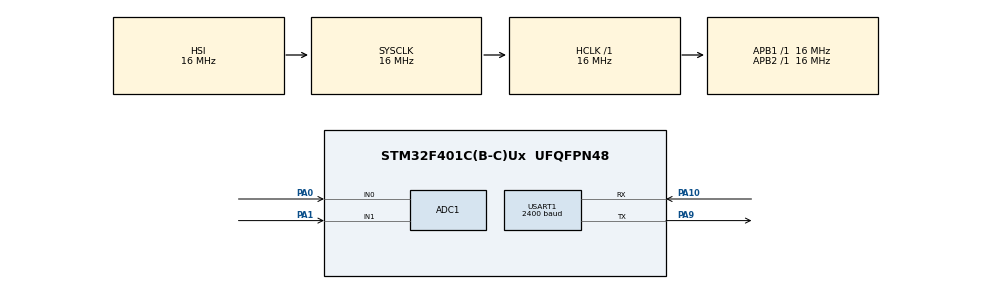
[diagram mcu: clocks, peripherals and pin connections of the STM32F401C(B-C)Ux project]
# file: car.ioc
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ADC1.Channel-1\#ChannelRegularConversion=ADC_CHANNEL_0
ADC1.NbrOfConversionFlag=1
ADC1.Rank-1\#ChannelRegularConversion=1
ADC1.SamplingTime-1\#ChannelRegularConversion=ADC_SAMPLETIME_3CYCLES
ADC1.master=1
Dma.ADC1.0.Direction=DMA_PERIPH_TO_MEMORY
Dma.ADC1.0.FIFOMode=DMA_FIFOMODE_DISABLE
Dma.ADC1.0.Instance=DMA2_Stream0
Dma.ADC1.0.MemDataAlignment=DMA_MDATAALIGN_HALFWORD
Dma.ADC1.0.MemInc=DMA_MINC_ENABLE
Dma.ADC1.0.Mode=DMA_CIRCULAR
Dma.ADC1.0.PeriphDataAlignment=DMA_PDATAALIGN_HALFWORD
Dma.ADC1.0.PeriphInc=DMA_PINC_DISABLE
Dma.ADC1.0.Priority=DMA_PRIORITY_LOW
Dma.Request0=ADC1
Mcu.Family=STM32F4
Mcu.Name=STM32F401C(B-C)Ux
Mcu.Package=UFQFPN48
NVIC.DMA2_Stream0_IRQn=true\:0\:0\:false\:false\:true\:false\:true\:true
NVIC.PriorityGroup=NVIC_PRIORITYGROUP_4
PA0-WKUP.Signal=ADCx_IN0
PA1.Signal=ADCx_IN1
PA10.Mode=Asynchronous
PA10.Signal=USART1_RX
PA9.Mode=Asynchronous
PA9.Signal=USART1_TX
ProjectManager.HeapSize=0x200
ProjectManager.StackSize=0x400
ProjectManager.TargetToolchain=STM32CubeIDE
RCC.AHBFreq_Value=16000000
RCC.APB1Freq_Value=16000000
RCC.APB2Freq_Value=16000000
RCC.CortexFreq_Value=16000000
RCC.HSE_VALUE=25000000
RCC.HSI_VALUE=16000000
RCC.LSE_VALUE=32768
RCC.SYSCLKFreq_VALUE=16000000
RCC.VCOOutputFreq_Value=192000000
SH.ADCx_IN0.0=ADC1_IN0,IN0
SH.ADCx_IN1.0=ADC1_IN1,IN1
USART1.BaudRate=2400
USART1.VirtualMode=VM_ASYNC
board=custom

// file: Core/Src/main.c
/* USER CODE BEGIN Header */
/**
  ******************************************************************************
  * @file           : main.c
  * @brief          : Main program body
  ******************************************************************************
  * @attention
  *
  * Copyright (c) 2026 STMicroelectronics.
  * All rights reserved.
  *
  * This software is licensed under terms that can be found in the LICENSE file
  * in the root directory of this software component.
  * If no LICENSE file comes with this software, it is provided AS-IS.
  *
  ******************************************************************************
  */
/* USER CODE END Header */
#include "main.h"

ADC_HandleTypeDef hadc1;
DMA_HandleTypeDef hdma_adc1;

UART_HandleTypeDef huart1;

/* USER CODE BEGIN PV */
volatile uint32_t adc_val[2]; // adc_val[0] - ось X, adc_val[1] - ось Y
uint8_t tx_packet[8];        // Буфер для отправки пакета по радио
/* USER CODE END PV */

void SystemClock_Config(void);
static void MX_GPIO_Init(void);
static void MX_DMA_Init(void);
static void MX_ADC1_Init(void);
static void MX_USART1_UART_Init(void);

int main(void)
{

  /* MCU Configuration--------------------------------------------------------*/

  /* Reset of all peripherals, Initializes the Flash interface and the Systick. */
  HAL_Init();

  /* Configure the system clock */
  SystemClock_Config();

  /* Initialize all configured peripherals */
  MX_GPIO_Init();
  MX_DMA_Init();
  MX_ADC1_Init();
  MX_USART1_UART_Init();
  /* USER CODE BEGIN 2 */
  HAL_ADC_Start_DMA(&hadc1, (uint32_t*)adc_val, 2);
  /* USER CODE END 2 */

  /* Infinite loop */
  /* USER CODE BEGIN WHILE */
  while (1)
  {
	  // Центр джойстика по умолчанию выдает ~2048 (диапазон 0..4095)
	        // Переводим сырые значения АЦП в диапазон от -100 до +100
	        int32_t speed = ((int32_t)adc_val[1] - 2048) * 100 / 2048; // Вперед/назад (ось Y)
	        int32_t steer = ((int32_t)adc_val[0] - 2048) * 100 / 2048; // Влево/вправо (ось X)
	        // Математика дифференциального (танкового) руления
	        int32_t left = speed + steer;
	        int32_t right = speed - steer;
	        // Ограничиваем значения в пределах -100..+100
	        if (left > 100) left = 100;
	        if (left < -100) left = -100;
	        if (right > 100) right = 100;
	        if (right < -100) right = -100;
	        // Переводим в беззнаковый вид 0..200 для отправки (100 - это стоп)
	        uint8_t left_cmd = (uint8_t)(left + 100);
	        uint8_t right_cmd = (uint8_t)(right + 100);
	        // Собираем пакет для отправки по воздуху
	        tx_packet[0] = 0x55; // Преамбула (1-й байт "разогрева" приемника)
	        tx_packet[1] = 0x55; // Преамбула (2-й байт)
	        tx_packet[2] = 0x55; // Преамбула (3-й байт)
	        tx_packet[3] = 0x55; // Преамбула (4-й байт)
	        tx_packet[4] = 0xAA; // Стартовый байт начала данных
	        tx_packet[5] = left_cmd;  // Скорость левого колеса
	        tx_packet[6] = right_cmd; // Скорость правого колеса
	        tx_packet[7] = left_cmd ^ right_cmd ^ 0xAA; // Контрольная сумма (XOR)
	        // Отправляем пакет 8 байт через передатчик FS1000A
	        HAL_UART_Transmit(&huart1, tx_packet, 8, 100);
	        HAL_Delay(50); // Отправляем команды каждые 50 миллисекунд

    /* USER CODE END WHILE */

  }
}

void SystemClock_Config(void)
{
  RCC_OscInitTypeDef RCC_OscInitStruct = {0};
  RCC_ClkInitTypeDef RCC_ClkInitStruct = {0};

  /** Configure the main internal regulator output voltage
  */
  __HAL_RCC_PWR_CLK_ENABLE();
  __HAL_PWR_VOLTAGESCALING_CONFIG(PWR_REGULATOR_VOLTAGE_SCALE2);

  /** Initializes the RCC Oscillators according to the specified parameters
  * in the RCC_OscInitTypeDef structure.
  */
  RCC_OscInitStruct.OscillatorType = RCC_OSCILLATORTYPE_HSI;
  RCC_OscInitStruct.HSIState = RCC_HSI_ON;
  RCC_OscInitStruct.HSICalibrationValue = RCC_HSICALIBRATION_DEFAULT;
  RCC_OscInitStruct.PLL.PLLState = RCC_PLL_NONE;
  if (HAL_RCC_OscConfig(&RCC_OscInitStruct) != HAL_OK)
  {
    Error_Handler();
  }

  /** Initializes the CPU, AHB and APB buses clocks
  */
  RCC_ClkInitStruct.ClockType = RCC_CLOCKTYPE_HCLK|RCC_CLOCKTYPE_SYSCLK
                              |RCC_CLOCKTYPE_PCLK1|RCC_CLOCKTYPE_PCLK2;
  RCC_ClkInitStruct.SYSCLKSource = RCC_SYSCLKSOURCE_HSI;
  RCC_ClkInitStruct.AHBCLKDivider = RCC_SYSCLK_DIV1;
  RCC_ClkInitStruct.APB1CLKDivider = RCC_HCLK_DIV1;
  RCC_ClkInitStruct.APB2CLKDivider = RCC_HCLK_DIV1;

  if (HAL_RCC_ClockConfig(&RCC_ClkInitStruct, FLASH_LATENCY_0) != HAL_OK)
  {
    Error_Handler();
  }
}

static void MX_ADC1_Init(void)
{

  ADC_ChannelConfTypeDef sConfig = {0};

  /** Configure the global features of the ADC (Clock, Resolution, Data Alignment and number of conversion)
  */
  hadc1.Instance = ADC1;
  hadc1.Init.ClockPrescaler = ADC_CLOCK_SYNC_PCLK_DIV2;
  hadc1.Init.Resolution = ADC_RESOLUTION_12B;
  hadc1.Init.ScanConvMode = DISABLE;
  hadc1.Init.ContinuousConvMode = DISABLE;
  hadc1.Init.DiscontinuousConvMode = DISABLE;
  hadc1.Init.ExternalTrigConvEdge = ADC_EXTERNALTRIGCONVEDGE_NONE;
  hadc1.Init.ExternalTrigConv = ADC_SOFTWARE_START;
  hadc1.Init.DataAlign = ADC_DATAALIGN_RIGHT;
  hadc1.Init.NbrOfConversion = 1;
  hadc1.Init.DMAContinuousRequests = DISABLE;
  hadc1.Init.EOCSelection = ADC_EOC_SINGLE_CONV;
  if (HAL_ADC_Init(&hadc1) != HAL_OK)
  {
    Error_Handler();
  }

  /** Configure for the selected ADC regular channel its corresponding rank in the sequencer and its sample time.
  */
  sConfig.Channel = ADC_CHANNEL_0;
  sConfig.Rank = 1;
  sConfig.SamplingTime = ADC_SAMPLETIME_3CYCLES;
  if (HAL_ADC_ConfigChannel(&hadc1, &sConfig) != HAL_OK)
  {
    Error_Handler();
  }

}

static void MX_USART1_UART_Init(void)
{

  huart1.Instance = USART1;
  huart1.Init.BaudRate = 2400;
  huart1.Init.WordLength = UART_WORDLENGTH_8B;
  huart1.Init.StopBits = UART_STOPBITS_1;
  huart1.Init.Parity = UART_PARITY_NONE;
  huart1.Init.Mode = UART_MODE_TX_RX;
  huart1.Init.HwFlowCtl = UART_HWCONTROL_NONE;
  huart1.Init.OverSampling = UART_OVERSAMPLING_16;
  if (HAL_UART_Init(&huart1) != HAL_OK)
  {
    Error_Handler();
  }

}

static void MX_DMA_Init(void)
{

  /* DMA controller clock enable */
  __HAL_RCC_DMA2_CLK_ENABLE();

  /* DMA interrupt init */
  /* DMA2_Stream0_IRQn interrupt configuration */
  HAL_NVIC_SetPriority(DMA2_Stream0_IRQn, 0, 0);
  HAL_NVIC_EnableIRQ(DMA2_Stream0_IRQn);

}

static void MX_GPIO_Init(void)
{

  /* GPIO Ports Clock Enable */
  __HAL_RCC_GPIOA_CLK_ENABLE();

}

void Error_Handler(void)
{
  __disable_irq();
  while (1)
  {
  }
}
